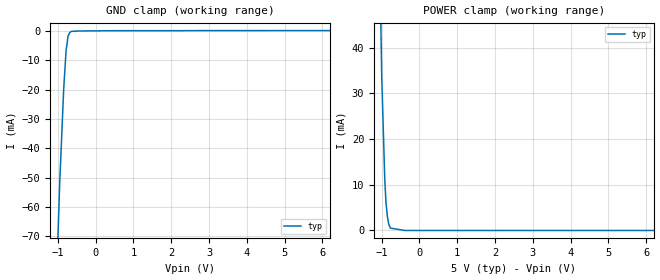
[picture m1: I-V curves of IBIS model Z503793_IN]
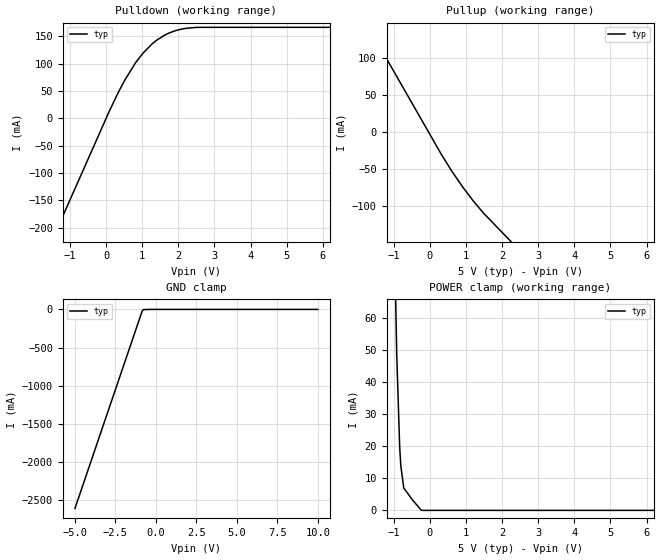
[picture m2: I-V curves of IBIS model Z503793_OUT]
| YOU ARE ONLY AUTHORIZED TO USE THIS SOFTWARE
| ACCORDING TO LICENSOR'S LICENSE RESTRICTIONS.
[IBIS Ver] 3.1
[File Name] mc74ac4020n.ibs
[File Rev] 2.0
[Source] Measured and created by ICX Technology
[Date] Friday 7/14/00 9:08:00 AM
[Copyright]
| (C) COPYRIGHT 1993-2000
| MENTOR GRAPHICS CORPORATION
| ICX STANDARD LIBRARY, ICX PROJECT MODELING,
| ICX CUSTOM MODELING, ICX VENDOR MODEL
| ALL RIGHTS RESERVED.
| THE FOLLOWING ARE TRADEMARKS OR SERVICE MARKS OF
| MENTOR GRAPHICS CORPORATION:ICX (R), ICX STANDARD
| LIBRARY(R), ICX PROJECT MODELING(R), ICX CUSTOM
| MODELING(R), qualityIBIS(TM), MODELVIEWER(TM),
| AND MODELEDITOR(TM)
| ALL COPIES OF SOFTWARE, INCLUDING BUT NOT LIMITED TO
| ANY MODIFICATIONS, ENHANCEMENTS OR DERIVATIVE WORKS,
| MUST CONTAIN ALL MENTOR GRAPHICS CORPORATION'S
| NOTICES AND LEGENDS, INCLUDING THOSE EMBEDDED IN
| SOFTWARE AND THOSE AFFIXED TO SOFTWARE MEDIUM
| AND CONTAINER, AS RECEIVED FROM MENTOR GRAPHICS
| CORPORATION.
|  ZAP Model Builder 2.7
[Component] MC74AC4020N
[Manufacturer] OnSemiconductor
[Package]
| variable   typ   min   max
R_pkg  .212ohms NA NA
L_pkg  4.758nH NA NA
C_pkg  1.143pF NA NA
[Pin] signal_name  model_name  R_pin  L_pin C_pin
1 Q11 Z503793_OUT .224 7.258n 1.578p
2 Q12 Z503793_OUT .216 5.258n 1.288p
3 Q13 Z503793_OUT .208 3.758n .998p
4 Q5 Z503793_OUT .2 2.758n .708p
5 Q4 Z503793_OUT .2 2.758n .708p
6 Q6 Z503793_OUT .208 3.758n .998p
7 Q3 Z503793_OUT .216 5.258n 1.288p
8 GND GND .224 7.258n 1.578p
9 Q0 Z503793_OUT .224 7.258n 1.578p
10 _CLK Z503793_IN .216 5.258n 1.288p
11 CLR Z503793_IN .208 3.758n .998p
12 Q8 Z503793_OUT .2 2.758n .708p
13 Q7 Z503793_OUT .2 2.758n .708p
14 Q9 Z503793_OUT .208 3.758n .998p
15 Q10 Z503793_OUT .216 5.258n 1.288p
16 VCC POWER .224 7.258n 1.578p
| Models and submodels in the file (2): Z503793_IN (Input), Z503793_OUT (Output)
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| (C) COPYRIGHT 1993-2000
| MENTOR GRAPHICS CORPORATION
| ICX STANDARD LIBRARY, ICX PROJECT MODELING,
| ICX CUSTOM MODELING, ICX VENDOR MODEL
| ALL RIGHTS RESERVED.
| THE FOLLOWING ARE TRADEMARKS OR SERVICE MARKS OF
| MENTOR GRAPHICS CORPORATION:ICX (R), ICX STANDARD
| LIBRARY(R), ICX PROJECT MODELING(R), ICX CUSTOM
| MODELING(R), qualityIBIS(TM), MODELVIEWER(TM),
| AND MODELEDITOR(TM)
| ALL COPIES OF SOFTWARE, INCLUDING BUT NOT LIMITED TO
| ANY MODIFICATIONS, ENHANCEMENTS OR DERIVATIVE WORKS,
| MUST CONTAIN ALL MENTOR GRAPHICS CORPORATION'S
| NOTICES AND LEGENDS, INCLUDING THOSE EMBEDDED IN
| SOFTWARE AND THOSE AFFIXED TO SOFTWARE MEDIUM
| AND CONTAINER, AS RECEIVED FROM MENTOR GRAPHICS
| CORPORATION.
| Model Application Version 1.89 2/18/99.
[Model] Z503793_IN
Model_type Input
Vinl = 1.500V
Vinh = 3.500V
C_comp 4.000pF NA NA
| variable typ   min   max
[Voltage Range] 5.000V NA NA
[GND Clamp Reference] 0.000V NA NA
[POWER Clamp Reference] 5.000V NA NA
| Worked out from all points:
|   GND clamp passes 1 mA (typ) near -0.70 V on its own axis
|   POWER clamp passes 1 mA (typ) near -0.79 V on its own axis
[GND Clamp]
-5V       -2.936A    NA         NA
-1.02V    -79.16mA   NA         NA
-952.1mV  -52.29mA   NA         NA
-844.8mV  -19.7mA    NA         NA
-781.3mV  -6.646mA   NA         NA
-727.9mV  -1.64mA    NA         NA
-684.7mV  -492uA     NA         NA
-645.7mV  -111.8uA   NA         NA
468.8mV   131.6uA    NA         NA
10V       176.8uA    NA         NA
[POWER Clamp]
-5V       2.838A     NA         NA
-1.113V   91.68mA    NA         NA
-996mV    33.65mA    NA         NA
-916mV    11.2mA     NA         NA
-884mV    6.161mA    NA         NA
-846mV    3.012mA    NA         NA
-810mV    1.345mA    NA         NA
-767mV    509.7uA    NA         NA
-383.5mV  0A         NA         NA
10V       0A         NA         NA
| (C) COPYRIGHT 1993-2000
| MENTOR GRAPHICS CORPORATION
| ICX STANDARD LIBRARY, ICX PROJECT MODELING,
| ICX CUSTOM MODELING, ICX VENDOR MODEL
| ALL RIGHTS RESERVED.
| THE FOLLOWING ARE TRADEMARKS OR SERVICE MARKS OF
| MENTOR GRAPHICS CORPORATION:ICX (R), ICX STANDARD
| LIBRARY(R), ICX PROJECT MODELING(R), ICX CUSTOM
| MODELING(R), qualityIBIS(TM), MODELVIEWER(TM),
| AND MODELEDITOR(TM)
| ALL COPIES OF SOFTWARE, INCLUDING BUT NOT LIMITED TO
| ANY MODIFICATIONS, ENHANCEMENTS OR DERIVATIVE WORKS,
| MUST CONTAIN ALL MENTOR GRAPHICS CORPORATION'S
| NOTICES AND LEGENDS, INCLUDING THOSE EMBEDDED IN
| SOFTWARE AND THOSE AFFIXED TO SOFTWARE MEDIUM
| AND CONTAINER, AS RECEIVED FROM MENTOR GRAPHICS
| CORPORATION.
| Model Application Version 1.89 2/18/99.
[Model] Z503793_OUT
Model_type Output
Vref=0.000V
Rref=500.0ohms
Cref=50.00pF
Vmeas=2.500V
C_comp 8.000pF NA NA
| variable typ   min   max
[Voltage Range] 5.000V NA NA
[POWER Clamp Reference] 5.000V NA NA
[Pullup Reference] 5.000V NA NA
[Pulldown Reference] 0.000V NA NA
[GND Clamp Reference] 0.000V NA NA
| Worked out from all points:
|   slope of the pulldown table from 0 to 0.75 V, typ, clamps not added: 7.91 ohm
|   slope of the pullup table from 0 to 0.75 V, typ, clamps not added: 12.5 ohm
|   POWER clamp passes 1 mA (typ) near -0.31 V on its own axis
[GND Clamp]
-5V       -2.611A    NA         NA
-848.8mV  -22.03mA   NA         NA
-776.7mV  -2.985mA   NA         NA
-388.4mV  0A         NA         NA
10V       0A         NA         NA
[Pulldown]
-5V       -745.6mA   NA         NA
92.77mV   13.85mA    NA         NA
337.7mV   47.72mA    NA         NA
513.2mV   69.66mA    NA         NA
831.3mV   103.5mA    NA         NA
1.016V    119.1mA    NA         NA
1.279V    136.8mA    NA         NA
1.407V    143.5mA    NA         NA
1.734V    156.1mA    NA         NA
2.107V    163.8mA    NA         NA
2.522V    166.7mA    NA         NA
10V       166.8mA    NA         NA
[Pullup]
-5V       423mA      NA         NA
313mV     -29.71mA   NA         NA
606mV     -52.64mA   NA         NA
904mV     -73.85mA   NA         NA
1.201V    -92.97mA   NA         NA
1.485V    -109.4mA   NA         NA
10V       -539.6mA   NA         NA
[POWER Clamp]
-5V       3.264A     NA         NA
-1.055V   131.4mA    NA         NA
-918mV    48.63mA    NA         NA
-835mV    19.57mA    NA         NA
-805mV    13.98mA    NA         NA
-722mV    6.975mA    NA         NA
-469mV    3.072mA    NA         NA
-234.5mV  0A         NA         NA
10V       0A         NA         NA
[Ramp]
| variable typ min max
dV/dt_r 2.952/349.8p NA NA
dV/dt_f 2.952/428.0p NA NA
R_load = 500.0Ohms
